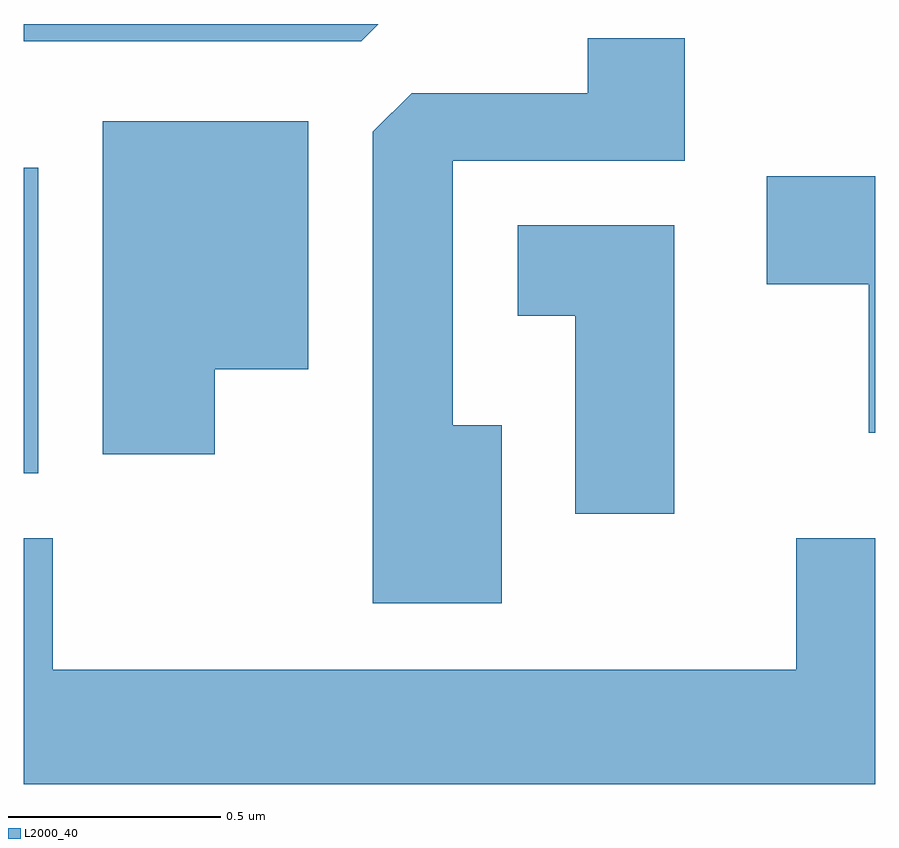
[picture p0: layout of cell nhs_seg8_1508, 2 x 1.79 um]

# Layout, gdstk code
import gdstk
lib = gdstk.Library(unit=1e-6, precision=1e-09)
def R(c, l, rs):  # rectangles x0, y0, x1, y1
    for r in rs: c.add(gdstk.rectangle(r[:2], r[2:], *l))
def P(c, l, *ps):  # polygons
    for p in ps: c.add(gdstk.Polygon(p, *l))
L2000_40 = (2000, 40)

nhs_seg8_1508 = lib.new_cell('nhs_seg8_1508')
R(nhs_seg8_1508, L2000_40, [(196.611,1808.286,196.644,1809.004)])
P(nhs_seg8_1508, L2000_40, [(197.444,1809.342),(196.611,1809.342),(196.611,1809.301),(197.404,1809.301)],
  [(197.734,1808.399),(197.619,1808.399),(197.619,1809.021),(198.164,1809.021),(198.164,1809.309),(197.936,1809.309),(197.936,1809.179),(197.522,1809.179),(197.431,1809.089),(197.431,1807.981),(197.734,1807.981)],
  [(197.059,1808.531),(197.279,1808.531),(197.279,1809.114),(196.796,1809.114),(196.796,1808.331),(197.059,1808.331)],
  [(198.611,1808.984),(198.356,1808.984),(198.356,1808.731),(198.596,1808.731),(198.596,1808.381),(198.611,1808.381)],
  [(198.139,1808.869),(197.771,1808.869),(197.771,1808.656),(197.906,1808.656),(197.906,1808.191),(198.139,1808.191)],
  [(198.611,1808.134),(198.426,1808.134),(198.426,1807.824),(196.679,1807.824),(196.679,1808.134),(196.611,1808.134),(196.611,1807.556),(198.611,1807.556)])

lib.write_gds('nhs_seg8_1508.gds')
